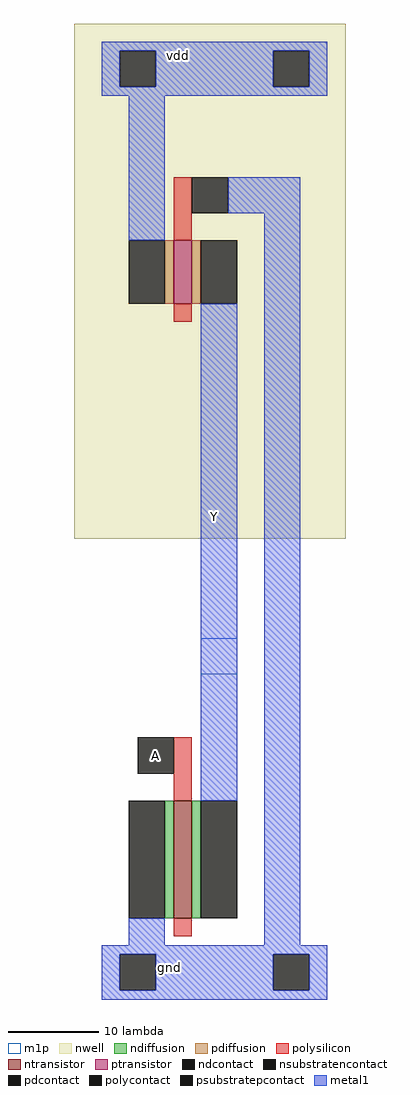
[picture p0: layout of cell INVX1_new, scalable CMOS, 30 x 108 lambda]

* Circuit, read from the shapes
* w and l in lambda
.subckt INVX1_new A Y gnd vdd
M1 Y A gnd gnd nfet w=13 l=2
M2 Y gnd vdd vdd pfet w=7 l=2
.ends

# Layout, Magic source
magic
tech scmos
<< nwell >>
rect -4 48 26 105
<< ntransistor >>
rect 7 6 9 19
<< ptransistor >>
rect 7 74 9 81
<< ndiffusion >>
rect 6 6 7 19
rect 9 6 10 19
<< pdiffusion >>
rect 6 74 7 81
rect 9 74 10 81
<< ndcontact >>
rect 2 6 6 19
rect 10 6 14 19
<< pdcontact >>
rect 2 74 6 81
rect 10 74 14 81
<< psubstratepcontact >>
rect 1 -2 5 2
rect 18 -2 22 2
<< nsubstratencontact >>
rect 1 98 5 102
rect 18 98 22 102
<< polysilicon >>
rect 7 81 9 88
rect 7 72 9 74
rect 7 19 9 26
rect 7 4 9 6
<< polycontact >>
rect 9 84 13 88
rect 3 22 7 26
<< metal1 >>
rect -1 102 24 103
rect -1 98 1 102
rect 5 98 18 102
rect 22 98 24 102
rect -1 97 24 98
rect 2 81 6 97
rect 13 84 21 88
rect 10 19 14 74
rect 2 3 6 6
rect 17 3 21 84
rect -1 2 24 3
rect -1 -2 1 2
rect 5 -2 18 2
rect 22 -2 24 2
rect -1 -3 24 -2
<< m1p >>
rect 10 33 14 37
<< labels >>
rlabel metal1 11 50 12 51 1 Y
rlabel metal1 7 101 8 102 5 vdd
rlabel metal1 6 0 7 1 1 gnd
rlabel polycontact 5 24 5 24 1 A
<< end >>
